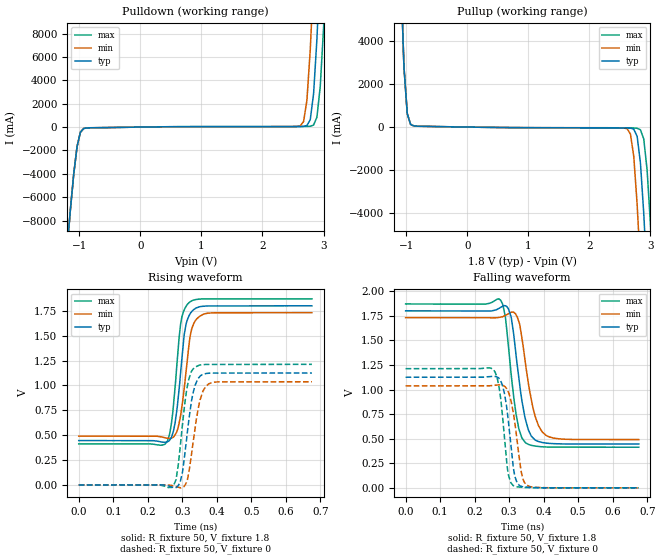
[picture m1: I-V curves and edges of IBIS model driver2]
| IBIS file invchain_weak_tr10ps.ibs created by PYS2IBIS3
| Missouri S&T EMC Lab
[IBIS Ver] 7.1
[File Name] invchain_weak_tr10ps.ibs
[File Rev] 1.0
[Date] Jul 27, 2026
[Source] inv_chain variant 'weak' -- half drive at every stage
[Notes] Parameter selection; sim_time=6.756e-10, tr=tf=1.000e-11.
[Component] invchain
[Manufacturer] s2ibispy study
[Package]
| variable   typ   min   max
R_pkg 0 NA NA
L_pkg 0H NA NA
C_pkg 0F NA NA
[Pin]  signal_name   model_name   R_pin   L_pin   C_pin
VSSQ   VSSQ   Gnd
VCCQ   VCCQ   Power
| IN IN dummy
PAD   PAD   driver2
| End of Component
| Models and submodels in the file (1): driver2 (Output)
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[Model] driver2
Model_type Output
Polarity Non-Inverting
Enable Active-High
Vinl  = 0.8V
Vinh  = 2V
C_comp 0.4680pF NA NA
[Temperature Range] 27.0000 27.0000 27.0000
[Voltage Range] 1.8000V 1.7000V 1.9000V
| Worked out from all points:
|   slope of the pulldown table from 0 to 0.27 V, typ, clamps not added: 14.1 ohm
|   slope of the pullup table from 0 to 0.27 V, typ, clamps not added: 24.6 ohm
|   rising waveform, R_fixture 50, V_fixture 1.8: 20-80 % time 23.5ps typ, 25.1ps min, 21.9ps max; typ from 0.446 V to 1.8 V
|   rising waveform, R_fixture 50, V_fixture 0: 20-80 % time 25.4ps typ, 27.1ps min, 23.7ps max; typ from 0 V to 1.12 V
|   falling waveform, R_fixture 50, V_fixture 1.8: 20-80 % time 31.4ps typ, 35.5ps min, 28.4ps max; typ from 1.8 V to 0.446 V
|   falling waveform, R_fixture 50, V_fixture 0: 20-80 % time 22.2ps typ, 24.5ps min, 20.5ps max; typ from 1.12 V to 0 V
[Pulldown]
| Voltage   I(typ)   I(min)   I(max)
-1.8V     -50.22A    -50.22A    -50.22A
-1.2V     -10.44A    -10.44A    -10.44A
-1.036V   -1.67A     -1.668A    -1.672A
-927.3mV  -121.6mA   -118.9mA   -124mA
2.618V    48.73mA    103.1mA    49.35mA
2.727V    131.8mA    2.281A     54.59mA
2.782V    631.5mA    6.58A      69.15mA
2.836V    2.833A     12.65A     170.1mA
2.891V    7.503A     19.29A     839.8mA
2.946V    13.76A     25.94A     3.459A
3V        20.41A     32.59A     8.47A
3.6V      93.55A     105.7A     81.36A
[Pullup]
| Voltage   I(typ)   I(min)   I(max)
-1.8V     93.5A      93.5A      93.5A
-1.091V   7.473A     7.472A     7.473A
-981.8mV  621.2mA    620.4mA    621.9mA
-872.7mV  52.26mA    51.37mA    53.06mA
2.618V    -40.01mA   -79.32mA   -40.56mA
2.727V    -99.7mA    -1.375A    -44.4mA
2.782V    -427.1mA   -3.579A    -55.14mA
2.836V    -1.672A    -6.535A    -126.4mA
2.891V    -4.036A    -9.883A    -555.7mA
2.946V    -7.076A    -13.45A    -2.002A
3V        -10.47A    -17.07A    -4.511A
3.6V      -50.25A    -56.88A    -43.62A
[Ramp]
| variable   typ   min   max
dV/dt_r 0.6750/0.02532n 0.6222/0.02712n 0.7272/0.02377n
dV/dt_f 0.8123/0.03134n 0.7501/0.03411n 0.8728/0.02935n
R_load = 50
[Rising Waveform]
R_fixture = 50
V_fixture = 1.8
|time   V(typ)   V(min)   V(max)
0s        446.2mV    490.9mV    413.3mV
250.9ps   429.4mV    474mV      413.4mV
268.5ps   477.4mV    470.9mV    616.6mV
288.1ps   872mV      577.7mV    1.373V
294.2ps   1.089V     677.8mV    1.596V
305.7ps   1.513V     971.5mV    1.76V
321.9ps   1.716V     1.481V     1.839V
337.5ps   1.773V     1.65V      1.862V
368.6ps   1.798V     1.723V     1.87V
675.6ps   1.8V       1.731V     1.87V
[Rising Waveform]
R_fixture = 50
V_fixture = 0
|time   V(typ)   V(min)   V(max)
0s        17.4nV     16.96nV    17.93nV
273.9ps   -26.77mV   -7.592mV   -11.07mV
282ps     -26.07mV   -16.49mV   54.24mV
293.5ps   22.54mV    -27.39mV   367.4mV
313.8ps   501.7mV    39.38mV    975.8mV
325.3ps   814.2mV    271.1mV    1.132V
337.5ps   1.005V     585.8mV    1.185V
358.4ps   1.109V     931.5mV    1.21V
382.8ps   1.124V     1.025V     1.212V
675.6ps   1.125V     1.037V     1.212V
[Falling Waveform]
R_fixture = 50
V_fixture = 1.8
|time   V(typ)   V(min)   V(max)
0s        1.8V       1.731V     1.87V
275.3ps   1.835V     1.735V     1.908V
289.5ps   1.851V     1.755V     1.727V
305.7ps   1.741V     1.786V     1.158V
318.5ps   1.395V     1.77V      779.6mV
330.7ps   1.04V      1.661V     571.5mV
353ps     615.1mV    1.124V     446.1mV
374ps     489.7mV    742.1mV    425.4mV
405.8ps   455.6mV    536.1mV    415.7mV
675.6ps   446.2mV    490.9mV    413.3mV
[Falling Waveform]
R_fixture = 50
V_fixture = 0
|time   V(typ)   V(min)   V(max)
0s        1.125V     1.037V     1.212V
254.3ps   1.135V     1.041V     1.203V
270.5ps   1.113V     1.047V     1.033V
286.1ps   966.3mV    1.035V     517.6mV
296.9ps   705.2mV    980.3mV    153.2mV
311.1ps   236.6mV    783.3mV    23.79mV
322.6ps   55.9mV     492.9mV    10.63mV
334.8ps   15.43mV    166mV      6.164mV
350.3ps   6.893mV    29.1mV     2.871mV
675.6ps   111.8nV    85.85nV    87.86nV
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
